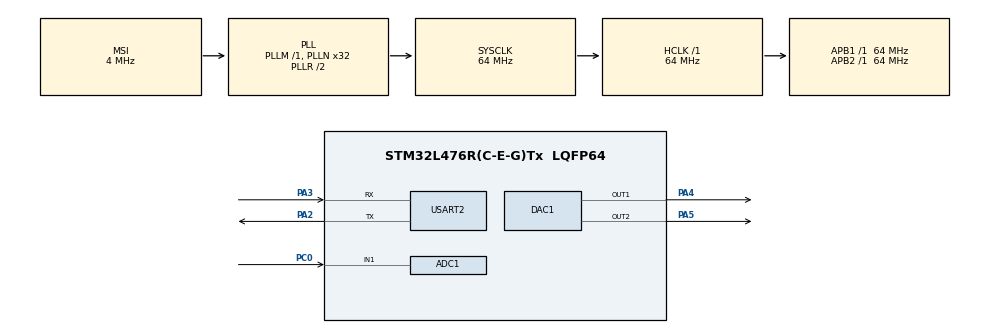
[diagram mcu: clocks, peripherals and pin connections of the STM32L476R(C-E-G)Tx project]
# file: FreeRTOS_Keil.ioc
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ADC1.Channel-0\#ChannelRegularConversion=ADC_CHANNEL_1
ADC1.ContinuousConvMode=DISABLE
ADC1.EnableInjectedConversion=DISABLE
ADC1.NbrOfConversionFlag=1
ADC1.OffsetNumber-0\#ChannelRegularConversion=ADC_OFFSET_NONE
ADC1.OversamplingMode=DISABLE
ADC1.Rank-0\#ChannelRegularConversion=1
ADC1.SamplingTime-0\#ChannelRegularConversion=ADC_SAMPLETIME_12CYCLES_5
ADC1.master=1
DAC1.DAC_Channel-DAC_OUT2=DAC_CHANNEL_2
Dma.DAC_CH1.0.Direction=DMA_MEMORY_TO_PERIPH
Dma.DAC_CH1.0.Instance=DMA1_Channel3
Dma.DAC_CH1.0.MemDataAlignment=DMA_MDATAALIGN_HALFWORD
Dma.DAC_CH1.0.MemInc=DMA_MINC_ENABLE
Dma.DAC_CH1.0.Mode=DMA_CIRCULAR
Dma.DAC_CH1.0.PeriphDataAlignment=DMA_PDATAALIGN_HALFWORD
Dma.DAC_CH1.0.PeriphInc=DMA_PINC_DISABLE
Dma.DAC_CH1.0.Priority=DMA_PRIORITY_VERY_HIGH
Dma.DAC_CH2.1.Direction=DMA_MEMORY_TO_PERIPH
Dma.DAC_CH2.1.Instance=DMA1_Channel4
Dma.DAC_CH2.1.MemDataAlignment=DMA_MDATAALIGN_HALFWORD
Dma.DAC_CH2.1.MemInc=DMA_MINC_ENABLE
Dma.DAC_CH2.1.Mode=DMA_CIRCULAR
Dma.DAC_CH2.1.PeriphDataAlignment=DMA_PDATAALIGN_HALFWORD
Dma.DAC_CH2.1.PeriphInc=DMA_PINC_DISABLE
Dma.DAC_CH2.1.Priority=DMA_PRIORITY_VERY_HIGH
Dma.Request0=DAC_CH1
Dma.Request1=DAC_CH2
FREERTOS.Mutexes01=NoiseValuesMut,Dynamic,NULL
FREERTOS.Queues01=NoiseValues,5,float,0,Dynamic,NULL,NULL
FREERTOS.Tasks01=defaultTask,24,128,StartDefaultTask,Default,NULL,Dynamic,NULL,NULL;MakeNoise,24,128,MakeNoiseHandler,Default,NULL,Dynamic,NULL,NULL;FilterIt,24,128,FilterItHandler,Default,NULL,Dynamic,NULL,NULL
Mcu.Family=STM32L4
Mcu.Name=STM32L476R(C-E-G)Tx
Mcu.Package=LQFP64
NVIC.ADC1_2_IRQn=true\:5\:0\:false\:false\:true\:true\:true\:true
NVIC.DMA1_Channel3_IRQn=true\:5\:0\:false\:false\:true\:true\:false\:true
NVIC.DMA1_Channel4_IRQn=true\:5\:0\:false\:false\:true\:true\:false\:true
NVIC.PriorityGroup=NVIC_PRIORITYGROUP_4
NVIC.TIM1_UP_TIM16_IRQn=true\:15\:0\:false\:false\:true\:false\:false\:true
NVIC.TimeBase=TIM1_UP_TIM16_IRQn
NVIC.TimeBaseIP=TIM1
PA2.Mode=Asynchronous
PA2.Signal=USART2_TX
PA3.Mode=Asynchronous
PA3.Signal=USART2_RX
PA4.Signal=COMP_DAC11_group
PA5.Signal=COMP_DAC12_group
PC0.Signal=ADCx_IN1
ProjectManager.HeapSize=0x200
ProjectManager.StackSize=0x400
ProjectManager.TargetToolchain=MDK-ARM V5.32
RCC.ADCFreq_Value=16000000
RCC.AHBFreq_Value=64000000
RCC.APB1Freq_Value=64000000
RCC.APB1TimFreq_Value=64000000
RCC.APB2Freq_Value=64000000
RCC.APB2TimFreq_Value=64000000
RCC.CortexFreq_Value=64000000
RCC.HCLKFreq_Value=64000000
RCC.HSE_VALUE=8000000
RCC.HSI_VALUE=16000000
RCC.LSE_VALUE=32768
RCC.MSI_VALUE=4000000
RCC.PLLN=32
RCC.PLLSAI1N=16
RCC.PLLSAI1R=RCC_PLLR_DIV4
RCC.SYSCLKFreq_VALUE=64000000
RCC.SYSCLKSource=RCC_SYSCLKSOURCE_PLLCLK
RCC.USBFreq_Value=32000000
RCC.VCOOutputFreq_Value=128000000
SH.ADCx_IN1.0=ADC1_IN1,IN1-Single-Ended
SH.COMP_DAC11_group.0=DAC1_OUT1,DAC_OUT1
SH.COMP_DAC12_group.0=DAC1_OUT2,DAC_OUT2
USART2.VirtualMode-Asynchronous=VM_ASYNC
VP_FREERTOS_VS_CMSIS_V2.Mode=CMSIS_V2
VP_SYS_VS_tim1.Mode=TIM1
board=custom

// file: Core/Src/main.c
/* USER CODE BEGIN Header */
/**
  ******************************************************************************
  * @file           : main.c
  * @brief          : Main program body
  ******************************************************************************
  * @attention
  *
  * <h2><center>&copy; Copyright (c) 2023 STMicroelectronics.
  * All rights reserved.</center></h2>
  *
  * This software component is licensed by ST under Ultimate Liberty license
  * SLA0044, the "License"; You may not use this file except in compliance with
  * the License. You may obtain a copy of the License at:
  *                             www.st.com/SLA0044
  *
  ******************************************************************************
  */
/* USER CODE END Header */
#include "main.h"
#include "cmsis_os.h"

/* USER CODE BEGIN Includes */
#include "stdio.h"
#include "Filter.h"
/* USER CODE END Includes */

ADC_HandleTypeDef hadc1;

DAC_HandleTypeDef hdac1;
DMA_HandleTypeDef hdma_dac_ch1;
DMA_HandleTypeDef hdma_dac_ch2;

UART_HandleTypeDef huart2;

/* Definitions for defaultTask */
osThreadId_t defaultTaskHandle;
const osThreadAttr_t defaultTask_attributes = {
  .name = "defaultTask",
  .stack_size = 128 * 4,
  .priority = (osPriority_t) osPriorityNormal,
};
/* Definitions for MakeNoise */
osThreadId_t MakeNoiseHandle;
const osThreadAttr_t MakeNoise_attributes = {
  .name = "MakeNoise",
  .stack_size = 128 * 4,
  .priority = (osPriority_t) osPriorityNormal,
};
/* Definitions for FilterIt */
osThreadId_t FilterItHandle;
const osThreadAttr_t FilterIt_attributes = {
  .name = "FilterIt",
  .stack_size = 128 * 4,
  .priority = (osPriority_t) osPriorityNormal,
};
/* Definitions for NoiseValues */
osMessageQueueId_t NoiseValuesHandle;
const osMessageQueueAttr_t NoiseValues_attributes = {
  .name = "NoiseValues"
};
/* Definitions for NoiseValuesMut */
osMutexId_t NoiseValuesMutHandle;
const osMutexAttr_t NoiseValuesMut_attributes = {
  .name = "NoiseValuesMut"
};

void SystemClock_Config(void);
static void MX_GPIO_Init(void);
static void MX_ADC1_Init(void);
static void MX_USART2_UART_Init(void);
static void MX_DMA_Init(void);
static void MX_DAC1_Init(void);
void StartDefaultTask(void *argument);
void MakeNoiseHandler(void *argument);
void FilterItHandler(void *argument);

/* USER CODE BEGIN 0 */
float signal_filtered[COUNTS];
float signal_noise_rx[COUNTS];
float signal_noise_tx[COUNTS];
/* USER CODE END 0 */

int main(void)
{

  /* MCU Configuration--------------------------------------------------------*/

  /* Reset of all peripherals, Initializes the Flash interface and the Systick. */
  HAL_Init();

  /* Configure the system clock */
  SystemClock_Config();

  /* Initialize all configured peripherals */
  MX_GPIO_Init();
  MX_ADC1_Init();
  MX_USART2_UART_Init();
  MX_DMA_Init();
  MX_DAC1_Init();
  /* USER CODE BEGIN 2 */
	HAL_DAC_Start(&hdac1,DAC_CHANNEL_1);
	HAL_DAC_Start(&hdac1,DAC_CHANNEL_2);
  /* USER CODE END 2 */

  /* Init scheduler */
  osKernelInitialize();
  /* Create the mutex(es) */
  /* creation of NoiseValuesMut */
  NoiseValuesMutHandle = osMutexNew(&NoiseValuesMut_attributes);

  /* Create the queue(s) */
  /* creation of NoiseValues */
  NoiseValuesHandle = osMessageQueueNew (5, sizeof(float), &NoiseValues_attributes);

  /* Create the thread(s) */
  /* creation of defaultTask */
  defaultTaskHandle = osThreadNew(StartDefaultTask, NULL, &defaultTask_attributes);

  /* creation of MakeNoise */
  MakeNoiseHandle = osThreadNew(MakeNoiseHandler, NULL, &MakeNoise_attributes);

  /* creation of FilterIt */
  FilterItHandle = osThreadNew(FilterItHandler, NULL, &FilterIt_attributes);

  /* Start scheduler */
  osKernelStart();

  /* We should never get here as control is now taken by the scheduler */
  /* Infinite loop */
  while (1)
  {

  }
}

void SystemClock_Config(void)
{
  RCC_OscInitTypeDef RCC_OscInitStruct = {0};
  RCC_ClkInitTypeDef RCC_ClkInitStruct = {0};

  /** Configure the main internal regulator output voltage
  */
  if (HAL_PWREx_ControlVoltageScaling(PWR_REGULATOR_VOLTAGE_SCALE1) != HAL_OK)
  {
    Error_Handler();
  }
  /** Initializes the RCC Oscillators according to the specified parameters
  * in the RCC_OscInitTypeDef structure.
  */
  RCC_OscInitStruct.OscillatorType = RCC_OSCILLATORTYPE_MSI;
  RCC_OscInitStruct.MSIState = RCC_MSI_ON;
  RCC_OscInitStruct.MSICalibrationValue = 0;
  RCC_OscInitStruct.MSIClockRange = RCC_MSIRANGE_6;
  RCC_OscInitStruct.PLL.PLLState = RCC_PLL_ON;
  RCC_OscInitStruct.PLL.PLLSource = RCC_PLLSOURCE_MSI;
  RCC_OscInitStruct.PLL.PLLM = 1;
  RCC_OscInitStruct.PLL.PLLN = 32;
  RCC_OscInitStruct.PLL.PLLP = RCC_PLLP_DIV7;
  RCC_OscInitStruct.PLL.PLLQ = RCC_PLLQ_DIV2;
  RCC_OscInitStruct.PLL.PLLR = RCC_PLLR_DIV2;
  if (HAL_RCC_OscConfig(&RCC_OscInitStruct) != HAL_OK)
  {
    Error_Handler();
  }
  /** Initializes the CPU, AHB and APB buses clocks
  */
  RCC_ClkInitStruct.ClockType = RCC_CLOCKTYPE_HCLK|RCC_CLOCKTYPE_SYSCLK
                              |RCC_CLOCKTYPE_PCLK1|RCC_CLOCKTYPE_PCLK2;
  RCC_ClkInitStruct.SYSCLKSource = RCC_SYSCLKSOURCE_PLLCLK;
  RCC_ClkInitStruct.AHBCLKDivider = RCC_SYSCLK_DIV1;
  RCC_ClkInitStruct.APB1CLKDivider = RCC_HCLK_DIV1;
  RCC_ClkInitStruct.APB2CLKDivider = RCC_HCLK_DIV1;

  if (HAL_RCC_ClockConfig(&RCC_ClkInitStruct, FLASH_LATENCY_3) != HAL_OK)
  {
    Error_Handler();
  }
}

static void MX_ADC1_Init(void)
{

  ADC_MultiModeTypeDef multimode = {0};
  ADC_ChannelConfTypeDef sConfig = {0};

  /** Common config
  */
  hadc1.Instance = ADC1;
  hadc1.Init.ClockPrescaler = ADC_CLOCK_ASYNC_DIV1;
  hadc1.Init.Resolution = ADC_RESOLUTION_12B;
  hadc1.Init.DataAlign = ADC_DATAALIGN_RIGHT;
  hadc1.Init.ScanConvMode = ADC_SCAN_DISABLE;
  hadc1.Init.EOCSelection = ADC_EOC_SINGLE_CONV;
  hadc1.Init.LowPowerAutoWait = DISABLE;
  hadc1.Init.ContinuousConvMode = DISABLE;
  hadc1.Init.NbrOfConversion = 1;
  hadc1.Init.DiscontinuousConvMode = DISABLE;
  hadc1.Init.ExternalTrigConv = ADC_SOFTWARE_START;
  hadc1.Init.ExternalTrigConvEdge = ADC_EXTERNALTRIGCONVEDGE_NONE;
  hadc1.Init.DMAContinuousRequests = DISABLE;
  hadc1.Init.Overrun = ADC_OVR_DATA_PRESERVED;
  hadc1.Init.OversamplingMode = DISABLE;
  if (HAL_ADC_Init(&hadc1) != HAL_OK)
  {
    Error_Handler();
  }
  /** Configure the ADC multi-mode
  */
  multimode.Mode = ADC_MODE_INDEPENDENT;
  if (HAL_ADCEx_MultiModeConfigChannel(&hadc1, &multimode) != HAL_OK)
  {
    Error_Handler();
  }
  /** Configure Regular Channel
  */
  sConfig.Channel = ADC_CHANNEL_1;
  sConfig.Rank = ADC_REGULAR_RANK_1;
  sConfig.SamplingTime = ADC_SAMPLETIME_12CYCLES_5;
  sConfig.SingleDiff = ADC_SINGLE_ENDED;
  sConfig.OffsetNumber = ADC_OFFSET_NONE;
  sConfig.Offset = 0;
  if (HAL_ADC_ConfigChannel(&hadc1, &sConfig) != HAL_OK)
  {
    Error_Handler();
  }

}

static void MX_DAC1_Init(void)
{

  DAC_ChannelConfTypeDef sConfig = {0};

  /** DAC Initialization
  */
  hdac1.Instance = DAC1;
  if (HAL_DAC_Init(&hdac1) != HAL_OK)
  {
    Error_Handler();
  }
  /** DAC channel OUT1 config
  */
  sConfig.DAC_SampleAndHold = DAC_SAMPLEANDHOLD_DISABLE;
  sConfig.DAC_Trigger = DAC_TRIGGER_NONE;
  sConfig.DAC_OutputBuffer = DAC_OUTPUTBUFFER_ENABLE;
  sConfig.DAC_ConnectOnChipPeripheral = DAC_CHIPCONNECT_DISABLE;
  sConfig.DAC_UserTrimming = DAC_TRIMMING_FACTORY;
  if (HAL_DAC_ConfigChannel(&hdac1, &sConfig, DAC_CHANNEL_1) != HAL_OK)
  {
    Error_Handler();
  }
  /** DAC channel OUT2 config
  */
  if (HAL_DAC_ConfigChannel(&hdac1, &sConfig, DAC_CHANNEL_2) != HAL_OK)
  {
    Error_Handler();
  }

}

static void MX_USART2_UART_Init(void)
{

  huart2.Instance = USART2;
  huart2.Init.BaudRate = 115200;
  huart2.Init.WordLength = UART_WORDLENGTH_8B;
  huart2.Init.StopBits = UART_STOPBITS_1;
  huart2.Init.Parity = UART_PARITY_NONE;
  huart2.Init.Mode = UART_MODE_TX_RX;
  huart2.Init.HwFlowCtl = UART_HWCONTROL_NONE;
  huart2.Init.OverSampling = UART_OVERSAMPLING_16;
  huart2.Init.OneBitSampling = UART_ONE_BIT_SAMPLE_DISABLE;
  huart2.AdvancedInit.AdvFeatureInit = UART_ADVFEATURE_NO_INIT;
  if (HAL_UART_Init(&huart2) != HAL_OK)
  {
    Error_Handler();
  }

}

static void MX_DMA_Init(void)
{

  /* DMA controller clock enable */
  __HAL_RCC_DMA1_CLK_ENABLE();

  /* DMA interrupt init */
  /* DMA1_Channel3_IRQn interrupt configuration */
  HAL_NVIC_SetPriority(DMA1_Channel3_IRQn, 5, 0);
  HAL_NVIC_EnableIRQ(DMA1_Channel3_IRQn);
  /* DMA1_Channel4_IRQn interrupt configuration */
  HAL_NVIC_SetPriority(DMA1_Channel4_IRQn, 5, 0);
  HAL_NVIC_EnableIRQ(DMA1_Channel4_IRQn);

}

static void MX_GPIO_Init(void)
{

  /* GPIO Ports Clock Enable */
  __HAL_RCC_GPIOC_CLK_ENABLE();
  __HAL_RCC_GPIOA_CLK_ENABLE();

}

void StartDefaultTask(void *argument)
{
  for(;;)
  {
    osDelay(1);
  }
}

void MakeNoiseHandler(void *argument)
{
  /* USER CODE BEGIN MakeNoiseHandler */
	uint8_t flag_tx = 1;
  /* Infinite loop */
  for(;;)
  {
		make_noise(signal_noise_tx,COUNTS);
		osMessageQueuePut(NoiseValuesHandle,&flag_tx,NULL,0xffff);
    osDelay(1);
  }
  /* USER CODE END MakeNoiseHandler */
}

void FilterItHandler(void *argument)
{
  /* USER CODE BEGIN FilterItHandler */
	osStatus_t status;
	uint8_t flag_rx;
  /* Infinite loop */
  for(;;)
  {
		status = osMessageQueueGet(NoiseValuesHandle,&flag_rx,NULL,0xffff);
		if (status == osOK)
		{
			Filter(signal_noise_tx,signal_filtered,COUNTS,WINDOW);
			transmit_to_USART(signal_noise_tx,signal_filtered,COUNTS);
		}
    osDelay(1);
  }
  /* USER CODE END FilterItHandler */
}

void HAL_TIM_PeriodElapsedCallback(TIM_HandleTypeDef *htim)
{
  /* USER CODE BEGIN Callback 0 */
	static uint16_t i;
  /* USER CODE END Callback 0 */
  if (htim->Instance == TIM1)
	{
		DAC->DHR12R1 = signal_noise_tx[i];
		DAC->DHR12R2 = signal_filtered[i];
		i = (i + 1) % COUNTS;
    HAL_IncTick();
  }
}

void Error_Handler(void)
{
  __disable_irq();
  while (1)
  {
  }
}

/************************ (C) COPYRIGHT STMicroelectronics *****END OF FILE****/
